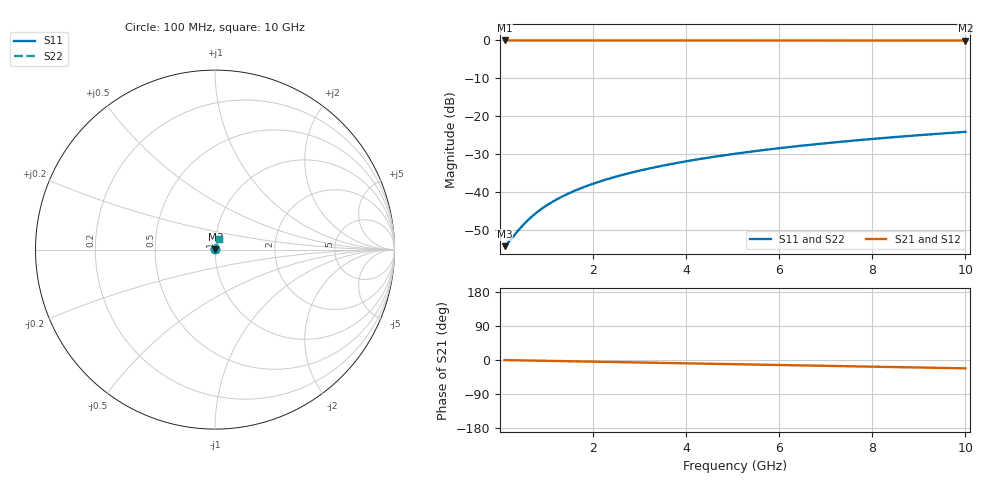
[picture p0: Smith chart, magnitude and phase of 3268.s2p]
# Hz S RI R 50.00
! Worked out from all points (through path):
!   100 points, 100 MHz to 10 GHz, reference 50 ohm
!   highest |S21| = -0.02 dB at 100 MHz (marker M1); lowest = 0.0 dB at 10 GHz (marker M2)
!   group delay of S21, straight-line fit = 6.12 ps
!   lowest |S11| = -54.3 dB at 100 MHz (marker M3), VSWR 1.00, Z = 50.2 + j0.063 ohm
!   |S11| at or under -10 dB: start of sweep to end of sweep
!   |S22| runs from -54.3 to -24.2 dB; largest |S21 - S12| = 0
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1e8  0.00181 0.000627  0.9982 -0.00382  0.9982 -0.00382  0.00181 0.000627
2e8  0.00183 0.00125  0.9981 -0.00764  0.9981 -0.00764  0.00183 0.00125
4e8  0.00187 0.00251  0.998 -0.0153  0.998 -0.0153  0.00187 0.00251
5e8  0.0019 0.00313  0.998 -0.0191  0.998 -0.0191  0.0019 0.00313
6e8  0.00193 0.00376  0.9979 -0.0229  0.9979 -0.0229  0.00193 0.00376
7e8  0.00196 0.00439  0.9978 -0.0267  0.9978 -0.0267  0.00196 0.00439
8e8  0.002 0.00501  0.9976 -0.0305  0.9976 -0.0305  0.002 0.00501
1e9  0.0021 0.00626  0.9974 -0.0382  0.9974 -0.0382  0.0021 0.00626
1.2e9  0.00221 0.00751  0.997 -0.0458  0.997 -0.0458  0.00221 0.00751
1.5e9  0.00241 0.00938  0.9964 -0.0573  0.9964 -0.0573  0.00241 0.00938
1.8e9  0.00265 0.0112  0.9956 -0.0687  0.9956 -0.0687  0.00265 0.0112
2.1e9  0.00293 0.0131  0.9948 -0.0801  0.9948 -0.0801  0.00293 0.0131
2.5e9  0.00338 0.0156  0.9934 -0.0954  0.9934 -0.0954  0.00338 0.0156
2.9e9  0.0039 0.018  0.9917 -0.1106  0.9917 -0.1106  0.0039 0.018
3.4e9  0.00465 0.0211  0.9893 -0.1296  0.9893 -0.1296  0.00465 0.0211
4.2e9  0.0061 0.0258  0.9847 -0.1598  0.9847 -0.1598  0.0061 0.0258
5.1e9  0.00808 0.0311  0.9784 -0.1937  0.9784 -0.1937  0.00808 0.0311
5.9e9  0.0101 0.0357  0.9718 -0.2237  0.9718 -0.2237  0.0101 0.0357
6.7e9  0.0125 0.0401  0.9643 -0.2535  0.9643 -0.2535  0.0125 0.0401
7.5e9  0.0151 0.0444  0.9557 -0.283  0.9557 -0.283  0.0151 0.0444
8.4e9  0.0184 0.049  0.9451 -0.316  0.9451 -0.316  0.0184 0.049
1e10  0.025 0.0567  0.9232 -0.3736  0.9232 -0.3736  0.025 0.0567
